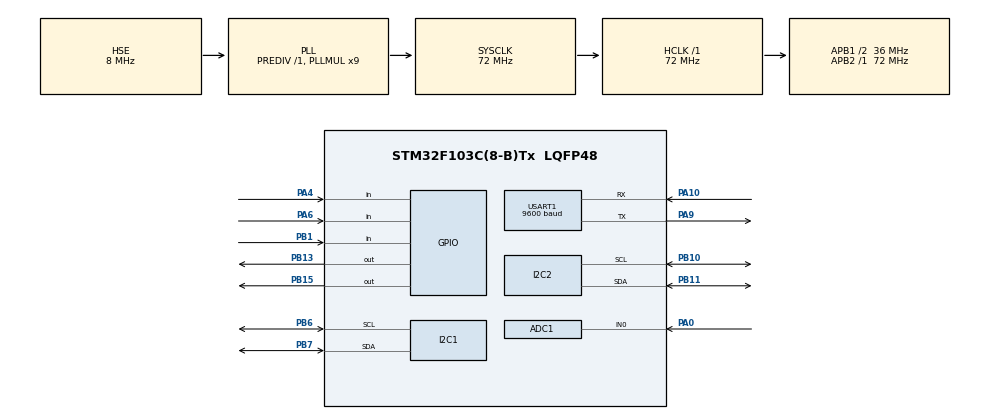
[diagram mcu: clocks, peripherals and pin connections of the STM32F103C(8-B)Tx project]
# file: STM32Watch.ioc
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ADC1.Channel-0\#ChannelRegularConversion=ADC_CHANNEL_0
ADC1.NbrOfConversionFlag=1
ADC1.Rank-0\#ChannelRegularConversion=1
ADC1.SamplingTime-0\#ChannelRegularConversion=ADC_SAMPLETIME_1CYCLE_5
ADC1.master=1
Mcu.Family=STM32F1
Mcu.Name=STM32F103C(8-B)Tx
Mcu.Package=LQFP48
NVIC.PriorityGroup=NVIC_PRIORITYGROUP_4
NVIC.TIM2_IRQn=true\:0\:0\:false\:false\:true\:true\:true\:true
NVIC.USART1_IRQn=true\:0\:0\:false\:false\:true\:true\:true\:true
PA0-WKUP.Signal=ADCx_IN0
PA10.Mode=Asynchronous
PA10.Signal=USART1_RX
PA13.Mode=Serial_Wire
PA13.Signal=SYS_JTMS-SWDIO
PA14.Mode=Serial_Wire
PA14.Signal=SYS_JTCK-SWCLK
PA4.GPIO_PuPd=GPIO_PULLUP
PA4.Signal=GPIO_Input
PA6.GPIO_PuPd=GPIO_PULLUP
PA6.Signal=GPIO_Input
PA9.Mode=Asynchronous
PA9.Signal=USART1_TX
PB1.GPIO_PuPd=GPIO_PULLUP
PB1.Signal=GPIO_Input
PB10.Mode=I2C
PB10.Signal=I2C2_SCL
PB11.Mode=I2C
PB11.Signal=I2C2_SDA
PB13.Signal=GPIO_Output
PB15.GPIO_ModeDefaultOutputPP=GPIO_MODE_OUTPUT_PP
PB15.GPIO_PuPd=GPIO_NOPULL
PB15.Signal=GPIO_Output
PB6.Mode=I2C
PB6.Signal=I2C1_SCL
PB7.Mode=I2C
PB7.Signal=I2C1_SDA
PD0-OSC_IN.Mode=HSE-External-Oscillator
PD0-OSC_IN.Signal=RCC_OSC_IN
PD1-OSC_OUT.Mode=HSE-External-Oscillator
PD1-OSC_OUT.Signal=RCC_OSC_OUT
ProjectManager.HeapSize=0x200
ProjectManager.StackSize=0x400
ProjectManager.TargetToolchain=CMake
RCC.ADCPresc=RCC_ADCPCLK2_DIV6
RCC.LSIState=RCC_LSI_ON
RCC.RTCClockSelection=RCC_RTCCLKSOURCE_LSI
RCC.AHBFreq_Value=72000000
RCC.APB1CLKDivider=RCC_HCLK_DIV2
RCC.APB1Freq_Value=36000000
RCC.APB1TimFreq_Value=72000000
RCC.APB2Freq_Value=72000000
RCC.APB2TimFreq_Value=72000000
RCC.HCLKFreq_Value=72000000
RCC.PLLMUL=RCC_PLL_MUL9
RCC.PLLSourceVirtual=RCC_PLLSOURCE_HSE
RCC.SYSCLKFreq_VALUE=72000000
RCC.SYSCLKSource=RCC_SYSCLKSOURCE_PLLCLK
RCC.USBFreq_Value=72000000
SH.ADCx_IN0.0=ADC1_IN0,IN0
TIM2.AutoReloadPreload=TIM_AUTORELOAD_PRELOAD_ENABLE
TIM2.Period=100-1
TIM2.Prescaler=7200-1
USART1.BaudRate=9600
USART1.VirtualMode=VM_ASYNC
VP_TIM2_VS_ClockSourceINT.Mode=Internal
board=custom
RTC.AsynchPrediv=RTC_AUTO_1_SECOND
RTC.OutPut=RTC_OUTPUTSOURCE_NONE

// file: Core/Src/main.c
/* USER CODE BEGIN Header */
/**
  ******************************************************************************
  * @file           : main.c
  * @brief          : Main program body
  ******************************************************************************
  * @attention
  *
  * Copyright (c) 2026 STMicroelectronics.
  * All rights reserved.
  *
  * This software is licensed under terms that can be found in the LICENSE file
  * in the root directory of this software component.
  * If no LICENSE file comes with this software, it is provided AS-IS.
  *
  ******************************************************************************
  */
/* USER CODE END Header */
#include "main.h"
#include "adc.h"
#include "i2c.h"
#include "key.h"
#include "stm32f1xx_hal.h"
#include "stm32f1xx_hal_tim.h"
#include "tim.h"
#include "usart.h"
#include "gpio.h"

/* USER CODE BEGIN Includes */
#include "ssd1306.h"
#include "ssd1306_fonts.h"
#include "mpu6050.h"
#include "stdio.h"
#include "step_counter.h"
#include "key.h"
#include "menu.h"
#include "rtc.h"
#include "watch_rtc.h"
#include "home_page.h"
#include "watch_service.h"
/* USER CODE END Includes */

void SystemClock_Config(void);
/* USER CODE BEGIN PFP */
void HAL_TIM_PeriodElapsedCallback(TIM_HandleTypeDef *htim)
{
    if (htim->Instance == TIM2)
    {
        Key_Tick10ms();
    }
}
/* USER CODE END PFP */

int main(void)
{

  /* MCU Configuration--------------------------------------------------------*/

  /* Reset of all peripherals, Initializes the Flash interface and the Systick. */
 HAL_Init();

  /* Configure the system clock */
  SystemClock_Config();

  /* Initialize all configured peripherals */
  MX_GPIO_Init();
  MX_ADC1_Init();
  MX_I2C1_Init();
  MX_I2C2_Init();
  MX_TIM2_Init();
  MX_USART1_UART_Init();
  MX_RTC_Init();
  /* USER CODE BEGIN 2 */
  if (USART1_ReceiveStart() != HAL_OK)
  {
    Error_Handler();
  }
  /* USER CODE END 2 */

  /* Infinite loop */
  /* USER CODE BEGIN WHILE */
  uint8_t mpu_id = 0;
HAL_StatusTypeDef mpu_status;

mpu_status = MPU6050_Init();
HAL_Delay(100);
mpu_status = MPU6050_ReadId(&mpu_id);
  ssd1306_Init();
StepCounter_Init();
WatchService_Init();
Key_Init();
  WatchRtc_Init();
Menu_Init();
HAL_TIM_Base_Start_IT(&htim2);
  while (1)
  {
    HomePage_Run();
    /* USER CODE END WHILE */

  }
}

void SystemClock_Config(void)
{
  RCC_OscInitTypeDef RCC_OscInitStruct = {0};
  RCC_ClkInitTypeDef RCC_ClkInitStruct = {0};
  RCC_PeriphCLKInitTypeDef PeriphClkInit = {0};

  /** Initializes the RCC Oscillators according to the specified parameters
  * in the RCC_OscInitTypeDef structure.
  */
  RCC_OscInitStruct.OscillatorType = RCC_OSCILLATORTYPE_HSE | RCC_OSCILLATORTYPE_LSI;
  RCC_OscInitStruct.HSEState = RCC_HSE_ON;
  RCC_OscInitStruct.HSEPredivValue = RCC_HSE_PREDIV_DIV1;
  RCC_OscInitStruct.HSIState = RCC_HSI_ON;
  RCC_OscInitStruct.LSIState = RCC_LSI_ON;
  RCC_OscInitStruct.PLL.PLLState = RCC_PLL_ON;
  RCC_OscInitStruct.PLL.PLLSource = RCC_PLLSOURCE_HSE;
  RCC_OscInitStruct.PLL.PLLMUL = RCC_PLL_MUL9;
  if (HAL_RCC_OscConfig(&RCC_OscInitStruct) != HAL_OK)
  {
    Error_Handler();
  }

  /** Initializes the CPU, AHB and APB buses clocks
  */
  RCC_ClkInitStruct.ClockType = RCC_CLOCKTYPE_HCLK|RCC_CLOCKTYPE_SYSCLK
                              |RCC_CLOCKTYPE_PCLK1|RCC_CLOCKTYPE_PCLK2;
  RCC_ClkInitStruct.SYSCLKSource = RCC_SYSCLKSOURCE_PLLCLK;
  RCC_ClkInitStruct.AHBCLKDivider = RCC_SYSCLK_DIV1;
  RCC_ClkInitStruct.APB1CLKDivider = RCC_HCLK_DIV2;
  RCC_ClkInitStruct.APB2CLKDivider = RCC_HCLK_DIV1;

  if (HAL_RCC_ClockConfig(&RCC_ClkInitStruct, FLASH_LATENCY_2) != HAL_OK)
  {
    Error_Handler();
  }
  PeriphClkInit.PeriphClockSelection = RCC_PERIPHCLK_ADC | RCC_PERIPHCLK_RTC;
  PeriphClkInit.AdcClockSelection = RCC_ADCPCLK2_DIV6;
  PeriphClkInit.RTCClockSelection = RCC_RTCCLKSOURCE_LSI;
  if (HAL_RCCEx_PeriphCLKConfig(&PeriphClkInit) != HAL_OK)
  {
    Error_Handler();
  }
}

void Error_Handler(void)
{
  __disable_irq();
  while (1)
  {
  }
}
